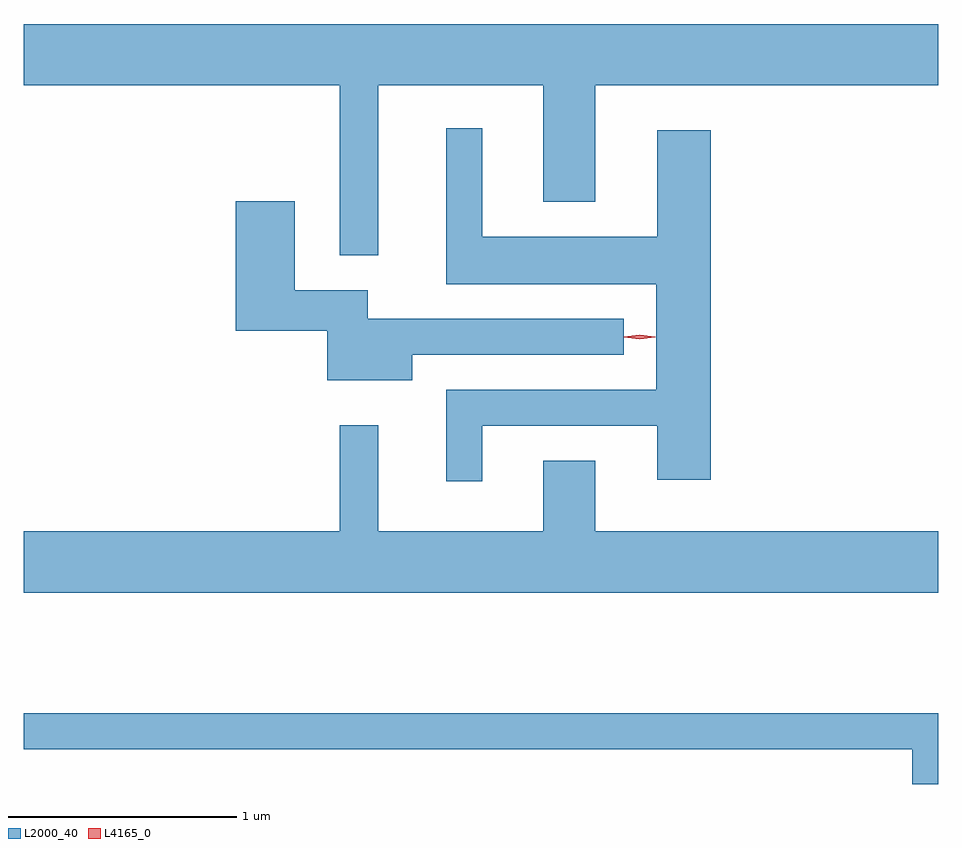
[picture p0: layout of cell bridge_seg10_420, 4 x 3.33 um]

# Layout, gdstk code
import gdstk
lib = gdstk.Library(unit=1e-6, precision=1e-09)
def P(c, l, *ps):  # polygons
    for p in ps: c.add(gdstk.Polygon(p, *l))
L2000_40 = (2000, 40)
L4165_0 = (4165, 0)

bridge_seg10_420 = lib.new_cell('bridge_seg10_420')
P(bridge_seg10_420, L2000_40, [(1390.639,2118.356),(1391.361,2118.356),(1391.361,2117.846),(1391.589,2117.846),(1391.589,2118.356),(1393.089,2118.356),(1393.089,2118.624),(1389.089,2118.624),(1389.089,2118.356),(1390.471,2118.356),(1390.471,2117.613),(1390.639,2117.613)],
  [(1391.094,2116.866),(1391.861,2116.866),(1391.861,2116.631),(1392.094,2116.631),(1392.094,2118.159),(1391.861,2118.159),(1391.861,2117.694),(1391.094,2117.694),(1391.094,2118.168),(1390.936,2118.168),(1390.936,2117.486),(1391.856,2117.486),(1391.856,2117.024),(1390.936,2117.024),(1390.936,2116.623),(1391.094,2116.623)],
  [(1390.789,2117.176),(1391.713,2117.176),(1391.713,2117.334),(1390.594,2117.334),(1390.594,2117.459),(1390.274,2117.459),(1390.274,2117.849),(1390.016,2117.849),(1390.016,2117.281),(1390.416,2117.281),(1390.416,2117.066),(1390.789,2117.066)],
  [(1393.089,2116.404),(1391.589,2116.404),(1391.589,2116.714),(1391.361,2116.714),(1391.361,2116.404),(1390.639,2116.404),(1390.639,2116.868),(1390.471,2116.868),(1390.471,2116.404),(1389.089,2116.404),(1389.089,2116.136),(1393.089,2116.136)],
  [(1393.089,2115.609),(1389.089,2115.609),(1389.089,2115.451),(1392.976,2115.451),(1392.976,2115.299),(1393.089,2115.299)])
P(bridge_seg10_420, L4165_0, [(1391.783,2117.245),(1391.717,2117.254),(1391.717,2117.255),(1391.717,2117.256),(1391.783,2117.265),(1391.849,2117.256),(1391.849,2117.255),(1391.849,2117.254)],
  [(1391.783,2117.245),(1391.714,2117.254),(1391.713,2117.255),(1391.714,2117.256),(1391.783,2117.265),(1391.852,2117.256),(1391.852,2117.255),(1391.852,2117.254)])

lib.write_gds('bridge_seg10_420.gds')
